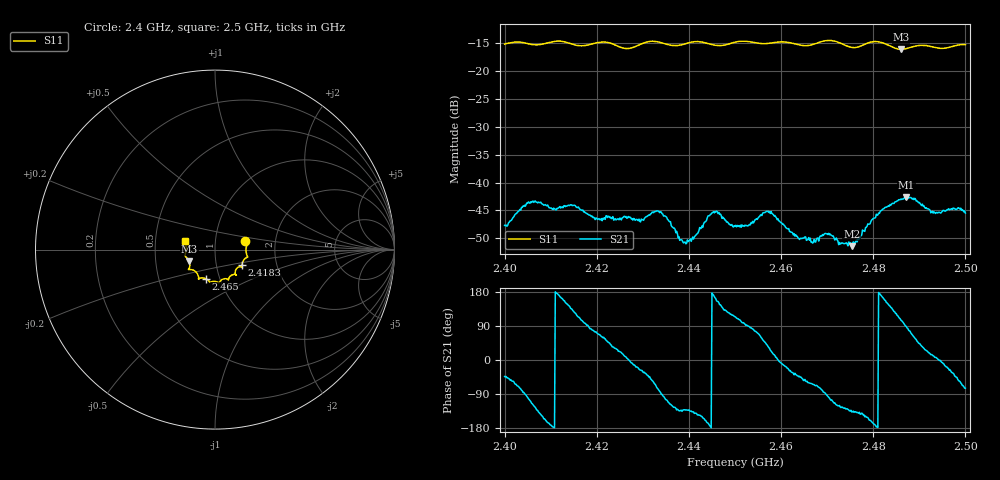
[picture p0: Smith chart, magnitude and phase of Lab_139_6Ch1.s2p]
# Hz S RI R 50
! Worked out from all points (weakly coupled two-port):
!   601 points, 2.4 GHz to 2.5 GHz, reference 50 ohm
!   highest |S21| = -42.64 dB at 2.4872 GHz (marker M1); lowest = -51.4 dB at 2.4753 GHz (marker M2)
!   lowest |S11| = -16.1 dB at 2.486 GHz (marker M3), VSWR 1.37, Z = 37.2 - j4.96 ohm
!   |S11| at or under -10 dB: start of sweep to end of sweep
!   S12 and S22 are empty: the file has one direction only
!   S11 on the Smith chart (normalised r, x): 2.4 GHz: 1.40, +0.13; 2.4183 GHz: 1.33, -0.24; 2.465 GHz: 0.86, -0.29; 2.5 GHz: 0.71, +0.07
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2.4e9  0.1692 0.0459  0.00299 -0.00285  0 0  0 0
2.405667e9  0.1743 0.0128  -0.00224 -0.00634  0 0  0 0
2.416667e9  0.155 -0.0679  -0.00146 0.00548  0 0  0 0
2.418333e9  0.15 -0.087  0.000345 0.00509  0 0  0 0
2.4295e9  0.1128 -0.1335  0.00396 -0.00199  0 0  0 0
2.433333e9  0.1175 -0.141  0.00125 -0.00541  0 0  0 0
2.439e9  0.0781 -0.1572  -0.00193 -0.00218  0 0  0 0
2.441e9  0.0753 -0.1678  -0.00227 -0.00212  0 0  0 0
2.4455e9  0.0575 -0.1619  -0.00522 0.00116  0 0  0 0
2.45e9  0.0255 -0.1809  -0.00166 0.00368  0 0  0 0
2.452833e9  0.0194 -0.1839  4.47e-05 0.00408  0 0  0 0
2.457333e9  -0.0126 -0.1777  0.00453 0.00293  0 0  0 0
2.465e9  -0.0523 -0.1617  0.00186 -0.00259  0 0  0 0
2.466667e9  -0.0713 -0.1575  0.00136 -0.0026  0 0  0 0
2.469833e9  -0.0921 -0.1646  -9.49e-05 -0.00346  0 0  0 0
2.475333e9  -0.1035 -0.1267  -0.00197 -0.00182  0 0  0 0
2.480167e9  -0.1478 -0.1109  -0.00472 -0.000866  0 0  0 0
2.483333e9  -0.1412 -0.0964  -0.00512 0.00351  0 0  0 0
2.486e9  -0.1433 -0.065  -0.00186 0.00686  0 0  0 0
2.487167e9  -0.1505 -0.0532  0.000153 0.00738  0 0  0 0
2.493e9  -0.1641 -0.0199  0.00522 0.00103  0 0  0 0
2.5e9  -0.1672 0.0471  0.00142 -0.00513  0 0  0 0
